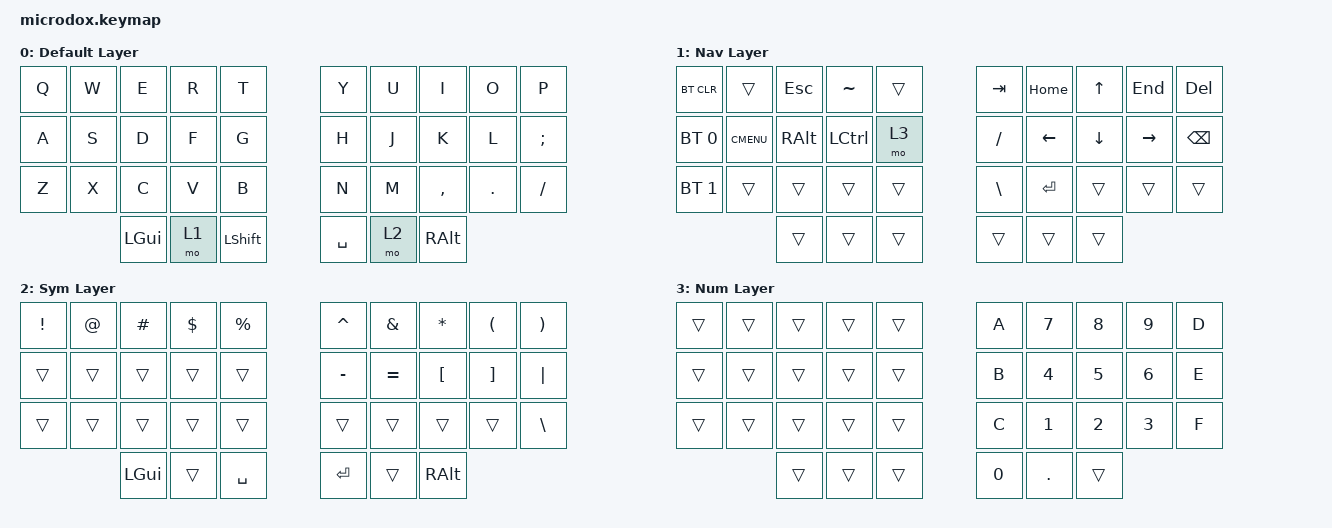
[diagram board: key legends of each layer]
/*
 * Copyright (c) 2020 The ZMK Contributors
 *
 * SPDX-License-Identifier: MIT
 */

#include <behaviors.dtsi>
#include <dt-bindings/zmk/keys.h>
#include <dt-bindings/zmk/bt.h>

/ {
        keymap {
                compatible = "zmk,keymap";

                default_layer {
                        display-name = "Default Layer";
// -----------------------------------------------------------------------------------------
// |  Q  |  W  |  E  |  R  |  T   |   |  Y  |  U   |  I  |  O  |  P  |
// |  A  |  S  |  D  |  F  |  G   |   |  H  |  J   |  K  |  L  |  ;  |
// |  Z  |  X  |  C  |  V  |  B   |   |  N  |  M   |  ,  |  .  |  /  |
//             | GUI | NAV | SHFT |   | SPC | SYM  | ALT |
                        bindings = <
   &kp Q &kp W &kp E &kp R &kp T   &kp Y &kp U  &kp I     &kp O   &kp P
   &kp A &kp S &kp D &kp F &kp G   &kp H &kp J  &kp K     &kp L   &kp SEMI
   &kp Z &kp X &kp C &kp V &kp B   &kp N &kp M  &kp COMMA &kp DOT &kp FSLH
          &kp LGUI &mo 1 &kp LSHFT &kp SPACE &mo 2 &kp RALT
                        >;
                };
                nav_layer {
                        display-name = "Nav Layer";
// -----------------------------------------------------------------------------------------
// |BTCLR|     | ESC |  ~   |     |   | TAB | HOME |  UP  | END | DEL  |
// | BT1 | GUI | ALT | CTRL | NUM |   |  /  | LEFT | DOWN | RGT | BSPC |
// | BT2 |     |     |      |     |   |  \  | ENT  |      |     |      |
//             |     |      |     |   |     |      |      |
                        bindings = <
   &bt BT_CLR   &trans      &kp ESC  &kp TILDE &trans     &kp TAB  &kp HOME &kp UP   &kp END   &kp DEL
   &bt BT_SEL 0 &kp K_CMENU &kp RALT &kp LCTRL &mo 3      &kp FSLH &kp LEFT &kp DOWN &kp RIGHT &kp BSPC
   &bt BT_SEL 1 &trans      &trans   &trans    &trans     &kp BSLH &kp RET  &trans   &trans    &trans
                            &trans   &trans    &trans     &trans   &trans   &trans
                        >;
                };

                sym_layer {
                        display-name = "Sym Layer";
// -----------------------------------------------------------------------------------------
// |  !  |  @  |  #  |  $  |  %  |   |  ^  |  &  |  *  |  (  |  )  |
// |     |     |     |     |     |   |  -  |  =  |  {  |  }  | "|" |
// |     |     |     |     |     |   |  _  |  +  |  [  |  ]  |  \  |
//             | GUI |     | SPC |   | ENT |     | ALT |
                        bindings = <
   &kp EXCL  &kp AT    &kp HASH  &kp DLLR  &kp PRCNT   &kp CARET &kp AMPS  &kp ASTRK &kp LPAR &kp RPAR
   &trans    &trans    &trans    &trans    &trans      &kp MINUS &kp EQUAL &kp LBKT  &kp RBKT &kp PIPE
   &trans    &trans    &trans    &trans    &trans      &trans    &trans    &trans    &trans   &kp BSLH
                       &kp LGUI  &trans    &kp SPACE   &kp RET   &trans    &kp RALT
                        >;
                };

// This layer is unreachable until "tri layer state" is sorted out.
// Leaving it here for completeness.
                num_layer {
                        display-name = "Num Layer";
// -----------------------------------------------------------------------------------------
// |     |     |     |     |     |   |  A  |  7  |  8  |  9  |  D  |
// |     |     |     |     |     |   |  B  |  4  |  5  |  6  |  E  |
// |     |     |     |     |     |   |  C  |  1  |  2  |  3  |  F  |
//             |     |     |     |   |  0  |  .  |     |
                        bindings = <
   &trans &trans &trans &trans &trans    &kp A  &kp N7  &kp N8 &kp N9 &kp D
   &trans &trans &trans &trans &trans    &kp B  &kp N4  &kp N5 &kp N6 &kp E
   &trans &trans &trans &trans &trans    &kp C  &kp N1  &kp N2 &kp N3 &kp F
                 &trans &trans &trans    &kp N0 &kp DOT &trans
                        >;
                };
        };
};
